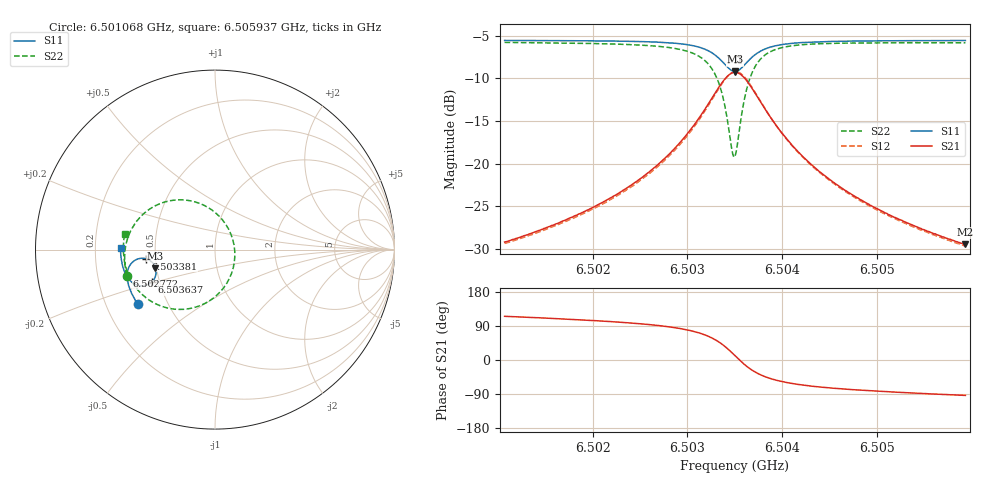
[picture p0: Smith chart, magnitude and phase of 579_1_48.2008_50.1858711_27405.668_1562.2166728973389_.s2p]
#  HZ  S  RI  R  50.00
! Rohde & Schwarz Vector Network Analyzer
! Rohde-Schwarz,ZNB20-2Port,1311601062101988,3.16
! Created: UTC 3/20/2024, 12:02:00 PM
! freq[Hz]  re:S11  im:S11  re:S21  im:S21  re:S12  im:S12  re:S22  im:S22
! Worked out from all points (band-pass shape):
!   401 points, 6.501068 GHz to 6.505937 GHz, reference 50 ohm
!   highest |S21| = -9.30 dB at 6.503503 GHz (marker M1); lowest = -29.5 dB at 6.505937 GHz (marker M2)
!   |S21| within 3 dB of the highest: 6.50326 GHz to 6.503746 GHz (486 kHz wide, 0.00747 % of centre)
!   lowest |S11| = -9.2 dB at 6.503503 GHz (marker M3), VSWR 2.06, Z = 24.7 - j5.73 ohm
!   |S11| at or under -10 dB: nowhere
!   |S22| runs from -19.2 to -5.8 dB; largest |S21 - S12| = 0.012
!   S11 on the Smith chart (normalised r, x): 6.501068 GHz: 0.34, -0.28; 6.502772 GHz: 0.33, -0.13; 6.503381 GHz: 0.44, -0.05; 6.503637 GHz: 0.45, -0.19; 6.505937 GHz: 0.31, +0.01
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6.5010683e9  -0.4316 -0.3023  -0.0148 0.0313  -0.0131 0.0314  -0.4925 -0.1452
6.5018838e9  -0.4659 -0.241  -0.014 0.0496  -0.0116 0.0491  -0.5038 -0.0569
6.5022855e9  -0.4798 -0.205  -0.0114 0.0667  -0.00851 0.0657  -0.5007 0.000994
6.5026993e9  -0.4894 -0.1588  -0.00122 0.0998  0.00231 0.0974  -0.4786 0.0848
6.5027723e9  -0.4898 -0.1488  0.00274 0.1087  0.00638 0.106  -0.4699 0.1043
6.5029793e9  -0.4862 -0.1153  0.0242 0.1427  0.0278 0.1385  -0.425 0.1719
6.5031375e9  -0.4713 -0.0831  0.064 0.179  0.0666 0.1732  -0.348 0.2358
6.5032836e9  -0.4331 -0.0533  0.1461 0.2081  0.1469 0.2021  -0.1983 0.2772
6.5033322e9  -0.4117 -0.0483  0.189 0.2069  0.1892 0.2014  -0.123 0.2688
6.5033809e9  -0.386 -0.0504  0.2385 0.1917  0.2386 0.1872  -0.0384 0.2344
6.5034661e9  -0.3425 -0.0798  0.3179 0.1166  0.3204 0.1127  0.0884 0.0865
6.5035026e9  -0.3315 -0.1022  0.3359 0.0672  0.3398 0.0621  0.11 -0.00591
6.503527e9  -0.3283 -0.1187  0.3396 0.0323  0.3438 0.0257  0.1076 -0.0703
6.5035635e9  -0.3303 -0.1431  0.3322 -0.0188  0.336 -0.0273  0.0802 -0.1605
6.5036365e9  -0.3528 -0.1808  0.2849 -0.0961  0.2853 -0.1076  -0.0309 -0.2855
6.5037461e9  -0.3991 -0.2014  0.1968 -0.1421  0.1918 -0.152  -0.2096 -0.333
6.5039043e9  -0.4469 -0.1919  0.1118 -0.1381  0.1047 -0.1434  -0.3625 -0.2839
6.5040747e9  -0.4751 -0.1705  0.0656 -0.1167  0.0595 -0.1192  -0.4368 -0.2166
6.5043182e9  -0.4963 -0.1407  0.0347 -0.0912  0.03 -0.0919  -0.4812 -0.1426
6.504659e9  -0.5112 -0.1041  0.0161 -0.0681  0.0128 -0.068  -0.5033 -0.071
6.5051337e9  -0.5213 -0.0594  0.00532 -0.0497  0.00288 -0.0491  -0.5106 -0.000893
6.505937e9  -0.5264 0.00911  -0.00198 -0.0335  -0.00322 -0.0326  -0.5033 0.0859
